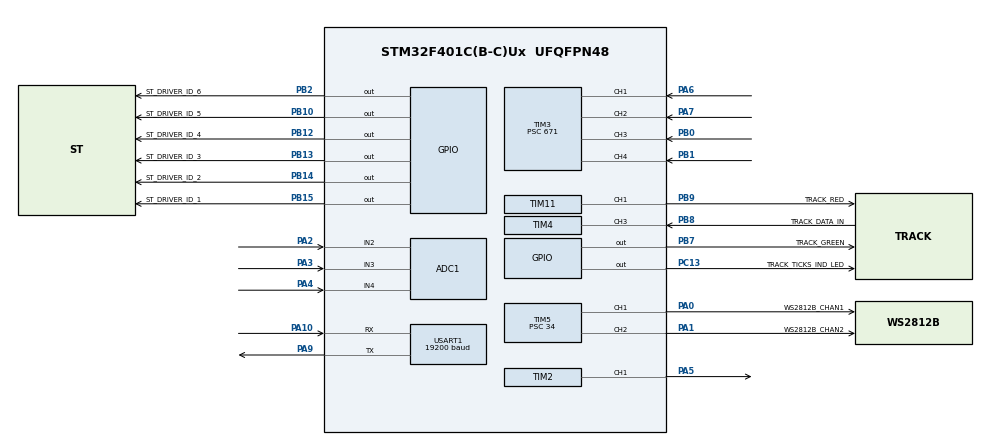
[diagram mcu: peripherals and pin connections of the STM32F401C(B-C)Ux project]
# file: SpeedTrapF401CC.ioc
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ADC1.Channel-0\#ChannelRegularConversion=ADC_CHANNEL_VBAT
ADC1.NbrOfConversionFlag=1
ADC1.Rank-0\#ChannelRegularConversion=1
ADC1.SamplingTime-0\#ChannelRegularConversion=ADC_SAMPLETIME_3CYCLES
ADC1.master=1
Dma.Request0=TIM4_CH3
Dma.Request1=TIM5_CH1
Dma.Request2=TIM5_CH2
Dma.Request3=USART1_RX
Dma.Request4=USART1_TX
Dma.TIM4_CH3.0.Direction=DMA_PERIPH_TO_MEMORY
Dma.TIM4_CH3.0.FIFOMode=DMA_FIFOMODE_DISABLE
Dma.TIM4_CH3.0.Instance=DMA1_Stream7
Dma.TIM4_CH3.0.MemDataAlignment=DMA_MDATAALIGN_HALFWORD
Dma.TIM4_CH3.0.MemInc=DMA_MINC_ENABLE
Dma.TIM4_CH3.0.Mode=DMA_CIRCULAR
Dma.TIM4_CH3.0.PeriphDataAlignment=DMA_PDATAALIGN_HALFWORD
Dma.TIM4_CH3.0.PeriphInc=DMA_PINC_DISABLE
Dma.TIM4_CH3.0.Priority=DMA_PRIORITY_LOW
Dma.TIM5_CH1.1.Direction=DMA_PERIPH_TO_MEMORY
Dma.TIM5_CH1.1.FIFOMode=DMA_FIFOMODE_DISABLE
Dma.TIM5_CH1.1.Instance=DMA1_Stream2
Dma.TIM5_CH1.1.MemDataAlignment=DMA_MDATAALIGN_HALFWORD
Dma.TIM5_CH1.1.MemInc=DMA_MINC_ENABLE
Dma.TIM5_CH1.1.Mode=DMA_NORMAL
Dma.TIM5_CH1.1.PeriphDataAlignment=DMA_PDATAALIGN_HALFWORD
Dma.TIM5_CH1.1.PeriphInc=DMA_PINC_DISABLE
Dma.TIM5_CH1.1.Priority=DMA_PRIORITY_LOW
Dma.TIM5_CH2.2.Direction=DMA_PERIPH_TO_MEMORY
Dma.TIM5_CH2.2.FIFOMode=DMA_FIFOMODE_DISABLE
Dma.TIM5_CH2.2.Instance=DMA1_Stream4
Dma.TIM5_CH2.2.MemDataAlignment=DMA_MDATAALIGN_HALFWORD
Dma.TIM5_CH2.2.MemInc=DMA_MINC_ENABLE
Dma.TIM5_CH2.2.Mode=DMA_CIRCULAR
Dma.TIM5_CH2.2.PeriphDataAlignment=DMA_PDATAALIGN_HALFWORD
Dma.TIM5_CH2.2.PeriphInc=DMA_PINC_DISABLE
Dma.TIM5_CH2.2.Priority=DMA_PRIORITY_LOW
Dma.USART1_RX.3.Direction=DMA_PERIPH_TO_MEMORY
Dma.USART1_RX.3.FIFOMode=DMA_FIFOMODE_DISABLE
Dma.USART1_RX.3.Instance=DMA2_Stream2
Dma.USART1_RX.3.MemDataAlignment=DMA_MDATAALIGN_BYTE
Dma.USART1_RX.3.MemInc=DMA_MINC_ENABLE
Dma.USART1_RX.3.Mode=DMA_CIRCULAR
Dma.USART1_RX.3.PeriphDataAlignment=DMA_PDATAALIGN_BYTE
Dma.USART1_RX.3.PeriphInc=DMA_PINC_DISABLE
Dma.USART1_RX.3.Priority=DMA_PRIORITY_LOW
Dma.USART1_TX.4.Direction=DMA_MEMORY_TO_PERIPH
Dma.USART1_TX.4.FIFOMode=DMA_FIFOMODE_DISABLE
Dma.USART1_TX.4.Instance=DMA2_Stream7
Dma.USART1_TX.4.MemDataAlignment=DMA_MDATAALIGN_BYTE
Dma.USART1_TX.4.MemInc=DMA_MINC_ENABLE
Dma.USART1_TX.4.Mode=DMA_NORMAL
Dma.USART1_TX.4.PeriphDataAlignment=DMA_PDATAALIGN_BYTE
Dma.USART1_TX.4.PeriphInc=DMA_PINC_DISABLE
Dma.USART1_TX.4.Priority=DMA_PRIORITY_LOW
Mcu.Family=STM32F4
Mcu.Name=STM32F401C(B-C)Ux
Mcu.Package=UFQFPN48
NVIC.DMA1_Stream2_IRQn=true\:0\:0\:false\:false\:true\:false\:true\:true
NVIC.DMA1_Stream4_IRQn=true\:0\:0\:false\:false\:true\:false\:true\:true
NVIC.DMA1_Stream7_IRQn=true\:0\:0\:false\:false\:true\:false\:true\:true
NVIC.DMA2_Stream2_IRQn=true\:0\:0\:false\:false\:true\:false\:true\:true
NVIC.DMA2_Stream7_IRQn=true\:0\:0\:false\:false\:true\:false\:true\:true
NVIC.PriorityGroup=NVIC_PRIORITYGROUP_4
NVIC.TIM1_UP_TIM10_IRQn=true\:0\:0\:false\:false\:true\:true\:true\:true
NVIC.TIM3_IRQn=true\:0\:0\:false\:false\:true\:true\:true\:true
PA0-WKUP.GPIO_Label=WS2812B_CHAN1
PA0-WKUP.Signal=S_TIM5_CH1
PA1.GPIO_Label=WS2812B_CHAN2
PA1.Signal=S_TIM5_CH2
PA10.Mode=Asynchronous
PA10.Signal=USART1_RX
PA13.Mode=Serial_Wire
PA13.Signal=SYS_JTMS-SWDIO
PA14.Mode=Serial_Wire
PA14.Signal=SYS_JTCK-SWCLK
PA2.Signal=ADCx_IN2
PA3.Signal=ADCx_IN3
PA4.Signal=ADCx_IN4
PA5.GPIO_Speed=GPIO_SPEED_FREQ_HIGH
PA5.Signal=S_TIM2_CH1_ETR
PA6.GPIO_PuPd=GPIO_PULLDOWN
PA6.Signal=S_TIM3_CH1
PA7.GPIO_PuPd=GPIO_PULLDOWN
PA7.Signal=S_TIM3_CH2
PA9.Mode=Asynchronous
PA9.Signal=USART1_TX
PB0.GPIO_PuPd=GPIO_PULLDOWN
PB0.Signal=S_TIM3_CH3
PB1.GPIO_PuPd=GPIO_PULLDOWN
PB1.Signal=S_TIM3_CH4
PB10.GPIO_Label=ST_DRIVER_ID_5
PB10.Signal=GPIO_Output
PB12.GPIO_Label=ST_DRIVER_ID_4
PB12.Signal=GPIO_Output
PB13.GPIO_Label=ST_DRIVER_ID_3
PB13.Signal=GPIO_Output
PB14.GPIO_Label=ST_DRIVER_ID_2
PB14.Signal=GPIO_Output
PB15.GPIO_Label=ST_DRIVER_ID_1
PB15.Signal=GPIO_Output
PB2.GPIO_Label=ST_DRIVER_ID_6
PB2.Signal=GPIO_Output
PB7.GPIO_Label=TRACK_GREEN
PB7.Signal=GPIO_Output
PB8.GPIO_Label=TRACK_DATA_IN
PB8.GPIO_PuPd=GPIO_PULLUP
PB8.Signal=S_TIM4_CH3
PB9.GPIO_Label=TRACK_RED
PB9.Signal=S_TIM11_CH1
PC13-ANTI_TAMP.GPIO_Label=TRACK_TICKS_IND_LED
PC13-ANTI_TAMP.Signal=GPIO_Output
PC14-OSC32_IN.Mode=LSE-External-Oscillator
PC14-OSC32_IN.Signal=RCC_OSC32_IN
PC15-OSC32_OUT.Mode=LSE-External-Oscillator
PC15-OSC32_OUT.Signal=RCC_OSC32_OUT
PH0\ -\ OSC_IN.Mode=HSE-External-Oscillator
PH0\ -\ OSC_IN.Signal=RCC_OSC_IN
PH1\ -\ OSC_OUT.Mode=HSE-External-Oscillator
PH1\ -\ OSC_OUT.Signal=RCC_OSC_OUT
ProjectManager.HeapSize=0x200
ProjectManager.StackSize=0x400
ProjectManager.TargetToolchain=STM32CubeIDE
RCC.48MHZClocksFreq_Value=42000000
RCC.AHBFreq_Value=84000000
RCC.APB1CLKDivider=RCC_HCLK_DIV2
RCC.APB1Freq_Value=42000000
RCC.APB1TimFreq_Value=84000000
RCC.APB2CLKDivider=RCC_HCLK_DIV2
RCC.APB2Freq_Value=42000000
RCC.APB2TimFreq_Value=84000000
RCC.CortexFreq_Value=84000000
RCC.HCLKFreq_Value=84000000
RCC.HSE_VALUE=25000000
RCC.HSI_VALUE=16000000
RCC.PLLM=25
RCC.PLLN=168
RCC.PLLSourceVirtual=RCC_PLLSOURCE_HSE
RCC.SYSCLKFreq_VALUE=84000000
RCC.SYSCLKSource=RCC_SYSCLKSOURCE_PLLCLK
RCC.VCOOutputFreq_Value=168000000
SH.ADCx_IN2.0=ADC1_IN2,IN2
SH.ADCx_IN3.0=ADC1_IN3,IN3
SH.ADCx_IN4.0=ADC1_IN4,IN4
SH.S_TIM11_CH1.0=TIM11_CH1,PWM Generation1 CH1
SH.S_TIM2_CH1_ETR.0=TIM2_CH1,PWM Generation1 CH1
SH.S_TIM3_CH1.0=TIM3_CH1,Input_Capture1_from_TI1
SH.S_TIM3_CH2.0=TIM3_CH2,Input_Capture2_from_TI2
SH.S_TIM3_CH3.0=TIM3_CH3,Input_Capture3_from_TI3
SH.S_TIM3_CH4.0=TIM3_CH4,Input_Capture4_from_TI4
SH.S_TIM4_CH3.0=TIM4_CH3,Input_Capture3_from_TI3
SH.S_TIM5_CH1.0=TIM5_CH1,PWM Generation1 CH1
SH.S_TIM5_CH2.0=TIM5_CH2,PWM Generation2 CH2
TIM10.Period=99
TIM10.Prescaler=8399
TIM11.Channel=TIM_CHANNEL_1
TIM11.Period=255
TIM11.Prescaler=349
TIM2.Channel-PWM\ Generation1\ CH1=TIM_CHANNEL_1
TIM2.Period=9999
TIM2.Prescaler=839
TIM3.Channel-Input_Capture1_from_TI1=TIM_CHANNEL_1
TIM3.Channel-Input_Capture2_from_TI2=TIM_CHANNEL_2
TIM3.Channel-Input_Capture3_from_TI3=TIM_CHANNEL_3
TIM3.Channel-Input_Capture4_from_TI4=TIM_CHANNEL_4
TIM3.Prescaler=671
TIM4.Channel-Input_Capture3_from_TI3=TIM_CHANNEL_3
TIM4.ICFilter_CH3=0
TIM4.ICPolarity_CH3=TIM_INPUTCHANNELPOLARITY_BOTHEDGE
TIM4.Prescaler=130
TIM5.Channel-PWM\ Generation1\ CH1=TIM_CHANNEL_1
TIM5.Channel-PWM\ Generation2\ CH2=TIM_CHANNEL_2
TIM5.Period=2
TIM5.Prescaler=34
USART1.BaudRate=19200
USART1.VirtualMode=VM_ASYNC
VP_ADC1_Vbat_Input.Mode=IN-Vbat
VP_TIM10_VS_ClockSourceINT.Mode=Enable_Timer
VP_TIM11_VS_ClockSourceINT.Mode=Enable_Timer
VP_TIM2_VS_ClockSourceINT.Mode=Internal
VP_TIM3_VS_ClockSourceINT.Mode=Internal
VP_TIM4_VS_ClockSourceINT.Mode=Internal
VP_TIM5_VS_ClockSourceINT.Mode=Internal
board=custom

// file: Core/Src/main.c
/* USER CODE BEGIN Header */
/**
  ******************************************************************************
  * @file           : main.c
  * @brief          : Main program body
  ******************************************************************************
  * @attention
  *
  * Copyright (c) 2025 STMicroelectronics.
  * All rights reserved.
  *
  * This software is licensed under terms that can be found in the LICENSE file
  * in the root directory of this software component.
  * If no LICENSE file comes with this software, it is provided AS-IS.
  *
  ******************************************************************************
  */
/* USER CODE END Header */
#include "main.h"

/* USER CODE BEGIN Includes */
#include "speedtrap.h"
#include "race_state.h"
#include "usart.h"
/* USER CODE END Includes */

/* USER CODE BEGIN PV */
uint32_t 	hundredth = 0;
uint8_t		flash_active = 0;
uint32_t 	tenth_counter = 0;
uint32_t 	seconds = 0;
uint32_t 	seconds_flag = 0;

// USART
uint8_t				uart_tx_buffer[UART_TX_BUF_LEN] = {0};
volatile uint8_t	uart_rx_buffer[UART_RX_BUF_LEN] = {0};
volatile uint8_t	uart_rx_buffer_copy[UART_RX_BUF_LEN] = {0};
volatile uint8_t	uart_rx_buffer_processed_flag = 1;
volatile uint8_t	uart_tx_transfer_completed		= 1;

USART_BASE_DATA 	uart_base = {0};
USART_DISPLAY_DATA 	uart_display = {0};

/* USER CODE END PV */

void SystemClock_Config(void);
static void MX_GPIO_Init(void);
static void MX_DMA_Init(void);
static void MX_TIM10_Init(void);
static void MX_TIM3_Init(void);
static void MX_TIM4_Init(void);
static void MX_ADC1_Init(void);
static void MX_TIM5_Init(void);
static void MX_TIM11_Init(void);
static void MX_USART1_UART_Init(void);
static void MX_TIM2_Init(void);
/* USER CODE BEGIN PFP */
void (*ptr_sptr_entry_lane_1)(uint16_t capture) = 0;
void (*ptr_sptr_exit_lane_1)(uint16_t capture) = 0;
void (*ptr_sptr_entry_lane_2)(uint16_t capture) = 0;
void (*ptr_sptr_exit_lane_2)(uint16_t capture) = 0;
void (*ptr_sptr_tim_overflow)(void) = 0;

void (*ptr_dma_man_tc)(void) = 0;
void (*ptr_dma_man_ht)(void) = 0;

void UART_DMA_TX();
void UART_DMA_RX_Restart(void);
/* USER CODE END PFP */

int main(void)
{

  /* USER CODE BEGIN 1 */
	ptr_sptr_entry_lane_1 = sptr_isr_entry_identification_lane_1;
	ptr_sptr_exit_lane_1 = 	sptr_isr_exit_identification_lane_1;
	ptr_sptr_entry_lane_2 = sptr_isr_entry_identification_lane_2;
	ptr_sptr_exit_lane_2 = 	sptr_isr_exit_identification_lane_2;
	ptr_sptr_tim_overflow = sptr_isr_overflow_timer_low_res;

	ptr_dma_man_tc = manchester_buffer_dma_tc;
	ptr_dma_man_ht = manchester_buffer_dma_ht;
  /* USER CODE END 1 */

  /* MCU Configuration--------------------------------------------------------*/

  /* Reset of all peripherals, Initializes the Flash interface and the Systick. */
  LL_APB2_GRP1_EnableClock(LL_APB2_GRP1_PERIPH_SYSCFG);
  LL_APB1_GRP1_EnableClock(LL_APB1_GRP1_PERIPH_PWR);

  /* System interrupt init*/
  NVIC_SetPriorityGrouping(NVIC_PRIORITYGROUP_4);

  /* SysTick_IRQn interrupt configuration */
  NVIC_SetPriority(SysTick_IRQn, NVIC_EncodePriority(NVIC_GetPriorityGrouping(),15, 0));

  /* Configure the system clock */
  SystemClock_Config();

  /* Initialize all configured peripherals */
  MX_GPIO_Init();
  MX_DMA_Init();
  MX_TIM10_Init();
  MX_TIM3_Init();
  MX_TIM4_Init();
  MX_ADC1_Init();
  MX_TIM5_Init();
  MX_TIM11_Init();
  MX_USART1_UART_Init();
  MX_TIM2_Init();
  /* USER CODE BEGIN 2 */

  LL_DMA_SetPeriphAddress(DMA1, LL_DMA_STREAM_7, (uint32_t)&TIM4->CCR3);
  LL_DMA_SetMemoryAddress(DMA1, LL_DMA_STREAM_7, (uint32_t)buffer_circular);
  LL_DMA_SetDataLength(DMA1, LL_DMA_STREAM_7, 40);
  // --- 4. Enable interrupts for half/full transfer ---
  LL_DMA_EnableIT_HT(DMA1, LL_DMA_STREAM_7);
  LL_DMA_EnableIT_TC(DMA1, LL_DMA_STREAM_7);
  // --- 5. Enable DMA channel ---
  LL_DMA_EnableStream(DMA1, LL_DMA_STREAM_7);
  // --- 6. Enable TIM3 DMA request on CC1 ---
  LL_TIM_EnableDMAReq_CC3(TIM4);
  LL_TIM_CC_EnableChannel(TIM4, LL_TIM_CHANNEL_CH3);
  // --- 7. Start timer ---
  LL_TIM_EnableCounter(TIM4);

  /* USER CODE END 2 */

  /* Infinite loop */
  while (1)
  {

    /* USER CODE BEGIN 3 */
	  update_race_info_status();
	  sptr_update();

	  // new RX data available in the buffer
	  if (!uart_rx_buffer_processed_flag){
		  uart_base.race_state 			= (uart_rx_buffer_copy[0] & 0x7F);
		  uart_base.start_lights 		= uart_rx_buffer_copy[1];
		  uart_base.jump_start_id 		= uart_rx_buffer_copy[2];
		  uart_base.speed_trap_settings	= uart_rx_buffer_copy[3];
		  uart_base.speed_trap_sensitivity 	= uart_rx_buffer_copy[4];
		  uart_base.track_ticks			= (0x000000FF & uart_rx_buffer_copy[5]) << 24;
		  uart_base.track_ticks			|= (0x000000FF & uart_rx_buffer_copy[6]) << 16;
		  uart_base.track_ticks			|= (0x000000FF & uart_rx_buffer_copy[7]) << 8;
		  uart_base.track_ticks			|= (0x000000FF & uart_rx_buffer_copy[8]);

		  uart_rx_buffer_processed_flag = 1;

		  if (RACE_STATE_START_PROC == uart_base.race_state){
			  sptr_reset();
		  }

		  sptr_set_mode(uart_base.speed_trap_settings & 0x02);		// faster/slower
		  sptr_set_status(uart_base.speed_trap_settings & 0x01); 	// on/off

		  // transmit to display
		  if (uart_tx_transfer_completed){
			  uart_display.race_state 		= uart_base.race_state;
			  uart_display.start_lights		= uart_base.start_lights;
			  uart_display.jump_start_id 	= uart_base.jump_start_id;
			  uart_display.pause			= (uart_rx_buffer_copy[0] & 0x80);
			  uart_display.track_ticks		= uart_base.track_ticks;
		  }
	  }

	  // TX DRIVER DISPLAY - update frequency 1Hz
	  if (seconds_flag != seconds){
		  seconds_flag = seconds;

		  if (uart_tx_transfer_completed){
			  uart_display.speed_id0_ticks 	= sptr_speeds[0];
			  uart_display.speed_id1_ticks 	= sptr_speeds[1];
			  uart_display.speed_id2_ticks 	= sptr_speeds[2];
			  uart_display.speed_id3_ticks 	= sptr_speeds[3];
			  uart_display.speed_id4_ticks 	= sptr_speeds[4];
			  uart_display.speed_id5_ticks 	= sptr_speeds[5];

			  uint8_t buffer_idx = 0;
			  uart_tx_buffer[buffer_idx++] 	= uart_display.race_state;
			  uart_tx_buffer[buffer_idx++] 	= uart_display.start_lights;
			  uart_tx_buffer[buffer_idx++] 	= uart_display.jump_start_id;
			  uart_tx_buffer[buffer_idx++] 	= uart_display.pause;
			  uart_tx_buffer[buffer_idx++]	= (uint8_t)((0xFF000000 & uart_display.track_ticks) >> 24);
			  uart_tx_buffer[buffer_idx++]	= (uint8_t)((0x00FF0000 & uart_display.track_ticks) >> 16);
			  uart_tx_buffer[buffer_idx++]	= (uint8_t)((0x0000FF00 & uart_display.track_ticks) >> 8);
			  uart_tx_buffer[buffer_idx++]	= (uint8_t)((0x000000FF & uart_display.track_ticks));
			  uart_tx_buffer[buffer_idx++]	= (uint8_t)((0xFF00 & uart_display.speed_id0_ticks) >> 8);
			  uart_tx_buffer[buffer_idx++]	= (uint8_t)((0x00FF & uart_display.speed_id0_ticks));
			  uart_tx_buffer[buffer_idx++]	= (uint8_t)((0xFF00 & uart_display.speed_id1_ticks) >> 8);
			  uart_tx_buffer[buffer_idx++]	= (uint8_t)((0x00FF & uart_display.speed_id1_ticks));
			  uart_tx_buffer[buffer_idx++]	= (uint8_t)((0xFF00 & uart_display.speed_id2_ticks) >> 8);
			  uart_tx_buffer[buffer_idx++]	= (uint8_t)((0x00FF & uart_display.speed_id2_ticks));
			  uart_tx_buffer[buffer_idx++]	= (uint8_t)((0xFF00 & uart_display.speed_id3_ticks) >> 8);
			  uart_tx_buffer[buffer_idx++]	= (uint8_t)((0x00FF & uart_display.speed_id3_ticks));
			  uart_tx_buffer[buffer_idx++]	= (uint8_t)((0xFF00 & uart_display.speed_id4_ticks) >> 8);
			  uart_tx_buffer[buffer_idx++]	= (uint8_t)((0x00FF & uart_display.speed_id4_ticks));
			  uart_tx_buffer[buffer_idx++]	= (uint8_t)((0xFF00 & uart_display.speed_id5_ticks) >> 8);
			  uart_tx_buffer[buffer_idx++]	= (uint8_t)((0x00FF & uart_display.speed_id5_ticks));

			  //uart_tx_buffer[0] = (uint8_t)seconds;
			  UART_DMA_TX();
		  }

	  }
  }
  /* USER CODE END 3 */
}

void SystemClock_Config(void)
{
  LL_FLASH_SetLatency(LL_FLASH_LATENCY_2);
  while(LL_FLASH_GetLatency()!= LL_FLASH_LATENCY_2)
  {
  }
  LL_PWR_SetRegulVoltageScaling(LL_PWR_REGU_VOLTAGE_SCALE2);
  LL_RCC_HSE_Enable();

   /* Wait till HSE is ready */
  while(LL_RCC_HSE_IsReady() != 1)
  {

  }
  LL_RCC_PLL_ConfigDomain_SYS(LL_RCC_PLLSOURCE_HSE, LL_RCC_PLLM_DIV_25, 168, LL_RCC_PLLP_DIV_2);
  LL_RCC_PLL_Enable();

   /* Wait till PLL is ready */
  while(LL_RCC_PLL_IsReady() != 1)
  {

  }
  while (LL_PWR_IsActiveFlag_VOS() == 0)
  {
  }
  LL_RCC_SetAHBPrescaler(LL_RCC_SYSCLK_DIV_1);
  LL_RCC_SetAPB1Prescaler(LL_RCC_APB1_DIV_2);
  LL_RCC_SetAPB2Prescaler(LL_RCC_APB2_DIV_2);
  LL_RCC_SetSysClkSource(LL_RCC_SYS_CLKSOURCE_PLL);

   /* Wait till System clock is ready */
  while(LL_RCC_GetSysClkSource() != LL_RCC_SYS_CLKSOURCE_STATUS_PLL)
  {

  }
  LL_Init1msTick(84000000);
  LL_SetSystemCoreClock(84000000);
  LL_RCC_SetTIMPrescaler(LL_RCC_TIM_PRESCALER_TWICE);
}

static void MX_ADC1_Init(void)
{

  LL_ADC_InitTypeDef ADC_InitStruct = {0};
  LL_ADC_REG_InitTypeDef ADC_REG_InitStruct = {0};
  LL_ADC_CommonInitTypeDef ADC_CommonInitStruct = {0};

  LL_GPIO_InitTypeDef GPIO_InitStruct = {0};

  /* Peripheral clock enable */
  LL_APB2_GRP1_EnableClock(LL_APB2_GRP1_PERIPH_ADC1);

  LL_AHB1_GRP1_EnableClock(LL_AHB1_GRP1_PERIPH_GPIOA);
  /**ADC1 GPIO Configuration
  PA2   ------> ADC1_IN2
  PA3   ------> ADC1_IN3
  PA4   ------> ADC1_IN4
  */
  GPIO_InitStruct.Pin = LL_GPIO_PIN_2|LL_GPIO_PIN_3|LL_GPIO_PIN_4;
  GPIO_InitStruct.Mode = LL_GPIO_MODE_ANALOG;
  GPIO_InitStruct.Pull = LL_GPIO_PULL_NO;
  LL_GPIO_Init(GPIOA, &GPIO_InitStruct);

  /** Common config
  */
  ADC_InitStruct.Resolution = LL_ADC_RESOLUTION_12B;
  ADC_InitStruct.DataAlignment = LL_ADC_DATA_ALIGN_RIGHT;
  ADC_InitStruct.SequencersScanMode = LL_ADC_SEQ_SCAN_DISABLE;
  LL_ADC_Init(ADC1, &ADC_InitStruct);
  ADC_REG_InitStruct.TriggerSource = LL_ADC_REG_TRIG_SOFTWARE;
  ADC_REG_InitStruct.SequencerLength = LL_ADC_REG_SEQ_SCAN_DISABLE;
  ADC_REG_InitStruct.SequencerDiscont = LL_ADC_REG_SEQ_DISCONT_DISABLE;
  ADC_REG_InitStruct.ContinuousMode = LL_ADC_REG_CONV_SINGLE;
  ADC_REG_InitStruct.DMATransfer = LL_ADC_REG_DMA_TRANSFER_NONE;
  LL_ADC_REG_Init(ADC1, &ADC_REG_InitStruct);
  LL_ADC_REG_SetFlagEndOfConversion(ADC1, LL_ADC_REG_FLAG_EOC_UNITARY_CONV);
  ADC_CommonInitStruct.CommonClock = LL_ADC_CLOCK_SYNC_PCLK_DIV2;
  LL_ADC_CommonInit(__LL_ADC_COMMON_INSTANCE(ADC1), &ADC_CommonInitStruct);

  /** Configure Regular Channel
  */
  LL_ADC_REG_SetSequencerRanks(ADC1, LL_ADC_REG_RANK_1, LL_ADC_CHANNEL_VBAT);
  LL_ADC_SetChannelSamplingTime(ADC1, LL_ADC_CHANNEL_VBAT, LL_ADC_SAMPLINGTIME_3CYCLES);
  LL_ADC_SetCommonPathInternalCh(__LL_ADC_COMMON_INSTANCE(ADC1), LL_ADC_PATH_INTERNAL_VBAT);

}

static void MX_TIM2_Init(void)
{

  LL_TIM_InitTypeDef TIM_InitStruct = {0};
  LL_TIM_OC_InitTypeDef TIM_OC_InitStruct = {0};

  LL_GPIO_InitTypeDef GPIO_InitStruct = {0};

  /* Peripheral clock enable */
  LL_APB1_GRP1_EnableClock(LL_APB1_GRP1_PERIPH_TIM2);

  TIM_InitStruct.Prescaler = 839;
  TIM_InitStruct.CounterMode = LL_TIM_COUNTERMODE_UP;
  TIM_InitStruct.Autoreload = 9999;
  TIM_InitStruct.ClockDivision = LL_TIM_CLOCKDIVISION_DIV1;
  LL_TIM_Init(TIM2, &TIM_InitStruct);
  LL_TIM_DisableARRPreload(TIM2);
  LL_TIM_SetClockSource(TIM2, LL_TIM_CLOCKSOURCE_INTERNAL);
  LL_TIM_OC_EnablePreload(TIM2, LL_TIM_CHANNEL_CH1);
  TIM_OC_InitStruct.OCMode = LL_TIM_OCMODE_PWM1;
  TIM_OC_InitStruct.OCState = LL_TIM_OCSTATE_DISABLE;
  TIM_OC_InitStruct.OCNState = LL_TIM_OCSTATE_DISABLE;
  TIM_OC_InitStruct.CompareValue = 0;
  TIM_OC_InitStruct.OCPolarity = LL_TIM_OCPOLARITY_HIGH;
  LL_TIM_OC_Init(TIM2, LL_TIM_CHANNEL_CH1, &TIM_OC_InitStruct);
  LL_TIM_OC_DisableFast(TIM2, LL_TIM_CHANNEL_CH1);
  LL_TIM_SetTriggerOutput(TIM2, LL_TIM_TRGO_RESET);
  LL_TIM_DisableMasterSlaveMode(TIM2);
  /* USER CODE BEGIN TIM2_Init 2 */

  LL_TIM_DisableCounter(TIM2);
  LL_TIM_CC_EnableChannel(TIM2, LL_TIM_CHANNEL_CH1);
  LL_TIM_OC_SetPolarity(TIM2, LL_TIM_CHANNEL_CH1, LL_TIM_OCPOLARITY_LOW);
  LL_TIM_SetOnePulseMode(TIM2, LL_TIM_ONEPULSEMODE_SINGLE);
  LL_TIM_OC_SetCompareCH1(TIM2, 5000); // 50 ms
  LL_TIM_EnableAllOutputs(TIM2);
  LL_TIM_GenerateEvent_UPDATE(TIM2);

  /* USER CODE END TIM2_Init 2 */
  LL_AHB1_GRP1_EnableClock(LL_AHB1_GRP1_PERIPH_GPIOA);
  /**TIM2 GPIO Configuration
  PA5   ------> TIM2_CH1
  */
  GPIO_InitStruct.Pin = LL_GPIO_PIN_5;
  GPIO_InitStruct.Mode = LL_GPIO_MODE_ALTERNATE;
  GPIO_InitStruct.Speed = LL_GPIO_SPEED_FREQ_HIGH;
  GPIO_InitStruct.OutputType = LL_GPIO_OUTPUT_PUSHPULL;
  GPIO_InitStruct.Pull = LL_GPIO_PULL_NO;
  GPIO_InitStruct.Alternate = LL_GPIO_AF_1;
  LL_GPIO_Init(GPIOA, &GPIO_InitStruct);

}

static void MX_TIM3_Init(void)
{

  LL_TIM_InitTypeDef TIM_InitStruct = {0};

  LL_GPIO_InitTypeDef GPIO_InitStruct = {0};

  /* Peripheral clock enable */
  LL_APB1_GRP1_EnableClock(LL_APB1_GRP1_PERIPH_TIM3);

  LL_AHB1_GRP1_EnableClock(LL_AHB1_GRP1_PERIPH_GPIOA);
  LL_AHB1_GRP1_EnableClock(LL_AHB1_GRP1_PERIPH_GPIOB);
  /**TIM3 GPIO Configuration
  PA6   ------> TIM3_CH1
  PA7   ------> TIM3_CH2
  PB0   ------> TIM3_CH3
  PB1   ------> TIM3_CH4
  */
  GPIO_InitStruct.Pin = LL_GPIO_PIN_6|LL_GPIO_PIN_7;
  GPIO_InitStruct.Mode = LL_GPIO_MODE_ALTERNATE;
  GPIO_InitStruct.Speed = LL_GPIO_SPEED_FREQ_LOW;
  GPIO_InitStruct.OutputType = LL_GPIO_OUTPUT_PUSHPULL;
  GPIO_InitStruct.Pull = LL_GPIO_PULL_DOWN;
  GPIO_InitStruct.Alternate = LL_GPIO_AF_2;
  LL_GPIO_Init(GPIOA, &GPIO_InitStruct);

  GPIO_InitStruct.Pin = LL_GPIO_PIN_0|LL_GPIO_PIN_1;
  GPIO_InitStruct.Mode = LL_GPIO_MODE_ALTERNATE;
  GPIO_InitStruct.Speed = LL_GPIO_SPEED_FREQ_LOW;
  GPIO_InitStruct.OutputType = LL_GPIO_OUTPUT_PUSHPULL;
  GPIO_InitStruct.Pull = LL_GPIO_PULL_DOWN;
  GPIO_InitStruct.Alternate = LL_GPIO_AF_2;
  LL_GPIO_Init(GPIOB, &GPIO_InitStruct);

  /* TIM3 interrupt Init */
  NVIC_SetPriority(TIM3_IRQn, NVIC_EncodePriority(NVIC_GetPriorityGrouping(),0, 0));
  NVIC_EnableIRQ(TIM3_IRQn);

  TIM_InitStruct.Prescaler = 671;
  TIM_InitStruct.CounterMode = LL_TIM_COUNTERMODE_UP;
  TIM_InitStruct.Autoreload = 65535;
  TIM_InitStruct.ClockDivision = LL_TIM_CLOCKDIVISION_DIV1;
  LL_TIM_Init(TIM3, &TIM_InitStruct);
  LL_TIM_DisableARRPreload(TIM3);
  LL_TIM_SetClockSource(TIM3, LL_TIM_CLOCKSOURCE_INTERNAL);
  LL_TIM_SetTriggerOutput(TIM3, LL_TIM_TRGO_RESET);
  LL_TIM_DisableMasterSlaveMode(TIM3);
  LL_TIM_IC_SetActiveInput(TIM3, LL_TIM_CHANNEL_CH1, LL_TIM_ACTIVEINPUT_DIRECTTI);
  LL_TIM_IC_SetPrescaler(TIM3, LL_TIM_CHANNEL_CH1, LL_TIM_ICPSC_DIV1);
  LL_TIM_IC_SetFilter(TIM3, LL_TIM_CHANNEL_CH1, LL_TIM_IC_FILTER_FDIV1);
  LL_TIM_IC_SetPolarity(TIM3, LL_TIM_CHANNEL_CH1, LL_TIM_IC_POLARITY_RISING);
  LL_TIM_IC_SetActiveInput(TIM3, LL_TIM_CHANNEL_CH2, LL_TIM_ACTIVEINPUT_DIRECTTI);
  LL_TIM_IC_SetPrescaler(TIM3, LL_TIM_CHANNEL_CH2, LL_TIM_ICPSC_DIV1);
  LL_TIM_IC_SetFilter(TIM3, LL_TIM_CHANNEL_CH2, LL_TIM_IC_FILTER_FDIV1);
  LL_TIM_IC_SetPolarity(TIM3, LL_TIM_CHANNEL_CH2, LL_TIM_IC_POLARITY_RISING);
  LL_TIM_IC_SetActiveInput(TIM3, LL_TIM_CHANNEL_CH3, LL_TIM_ACTIVEINPUT_DIRECTTI);
  LL_TIM_IC_SetPrescaler(TIM3, LL_TIM_CHANNEL_CH3, LL_TIM_ICPSC_DIV1);
  LL_TIM_IC_SetFilter(TIM3, LL_TIM_CHANNEL_CH3, LL_TIM_IC_FILTER_FDIV1);
  LL_TIM_IC_SetPolarity(TIM3, LL_TIM_CHANNEL_CH3, LL_TIM_IC_POLARITY_RISING);
  LL_TIM_IC_SetActiveInput(TIM3, LL_TIM_CHANNEL_CH4, LL_TIM_ACTIVEINPUT_DIRECTTI);
  LL_TIM_IC_SetPrescaler(TIM3, LL_TIM_CHANNEL_CH4, LL_TIM_ICPSC_DIV1);
  LL_TIM_IC_SetFilter(TIM3, LL_TIM_CHANNEL_CH4, LL_TIM_IC_FILTER_FDIV1);
  LL_TIM_IC_SetPolarity(TIM3, LL_TIM_CHANNEL_CH4, LL_TIM_IC_POLARITY_RISING);
  /* USER CODE BEGIN TIM3_Init 2 */

  LL_TIM_EnableIT_UPDATE(TIM3);

  // set cc channels and enable interrupts
  LL_TIM_CC_EnableChannel(TIM3, LL_TIM_CHANNEL_CH1);
  LL_TIM_EnableIT_CC1(TIM3);
  LL_TIM_CC_EnableChannel(TIM3, LL_TIM_CHANNEL_CH2);
  LL_TIM_EnableIT_CC2(TIM3);
  LL_TIM_CC_EnableChannel(TIM3, LL_TIM_CHANNEL_CH3);
  LL_TIM_EnableIT_CC3(TIM3);
  LL_TIM_CC_EnableChannel(TIM3, LL_TIM_CHANNEL_CH4);
  LL_TIM_EnableIT_CC4(TIM3);

  // start timer
  LL_TIM_EnableCounter(TIM3);
  /* USER CODE END TIM3_Init 2 */

}

static void MX_TIM4_Init(void)
{

  LL_TIM_InitTypeDef TIM_InitStruct = {0};

  LL_GPIO_InitTypeDef GPIO_InitStruct = {0};

  /* Peripheral clock enable */
  LL_APB1_GRP1_EnableClock(LL_APB1_GRP1_PERIPH_TIM4);

  LL_AHB1_GRP1_EnableClock(LL_AHB1_GRP1_PERIPH_GPIOB);
  /**TIM4 GPIO Configuration
  PB8   ------> TIM4_CH3
  */
  GPIO_InitStruct.Pin = TRACK_DATA_IN_Pin;
  GPIO_InitStruct.Mode = LL_GPIO_MODE_ALTERNATE;
  GPIO_InitStruct.Speed = LL_GPIO_SPEED_FREQ_LOW;
  GPIO_InitStruct.OutputType = LL_GPIO_OUTPUT_PUSHPULL;
  GPIO_InitStruct.Pull = LL_GPIO_PULL_UP;
  GPIO_InitStruct.Alternate = LL_GPIO_AF_2;
  LL_GPIO_Init(TRACK_DATA_IN_GPIO_Port, &GPIO_InitStruct);

  /* TIM4 DMA Init */

  /* TIM4_CH3 Init */
  LL_DMA_SetChannelSelection(DMA1, LL_DMA_STREAM_7, LL_DMA_CHANNEL_2);

  LL_DMA_SetDataTransferDirection(DMA1, LL_DMA_STREAM_7, LL_DMA_DIRECTION_PERIPH_TO_MEMORY);

  LL_DMA_SetStreamPriorityLevel(DMA1, LL_DMA_STREAM_7, LL_DMA_PRIORITY_LOW);

  LL_DMA_SetMode(DMA1, LL_DMA_STREAM_7, LL_DMA_MODE_CIRCULAR);

  LL_DMA_SetPeriphIncMode(DMA1, LL_DMA_STREAM_7, LL_DMA_PERIPH_NOINCREMENT);

  LL_DMA_SetMemoryIncMode(DMA1, LL_DMA_STREAM_7, LL_DMA_MEMORY_INCREMENT);

  LL_DMA_SetPeriphSize(DMA1, LL_DMA_STREAM_7, LL_DMA_PDATAALIGN_HALFWORD);

  LL_DMA_SetMemorySize(DMA1, LL_DMA_STREAM_7, LL_DMA_MDATAALIGN_HALFWORD);

  LL_DMA_DisableFifoMode(DMA1, LL_DMA_STREAM_7);

  TIM_InitStruct.Prescaler = 130;
  TIM_InitStruct.CounterMode = LL_TIM_COUNTERMODE_UP;
  TIM_InitStruct.Autoreload = 65535;
  TIM_InitStruct.ClockDivision = LL_TIM_CLOCKDIVISION_DIV1;
  LL_TIM_Init(TIM4, &TIM_InitStruct);
  LL_TIM_DisableARRPreload(TIM4);
  LL_TIM_SetClockSource(TIM4, LL_TIM_CLOCKSOURCE_INTERNAL);
  LL_TIM_SetTriggerOutput(TIM4, LL_TIM_TRGO_RESET);
  LL_TIM_DisableMasterSlaveMode(TIM4);
  LL_TIM_IC_SetActiveInput(TIM4, LL_TIM_CHANNEL_CH3, LL_TIM_ACTIVEINPUT_DIRECTTI);
  LL_TIM_IC_SetPrescaler(TIM4, LL_TIM_CHANNEL_CH3, LL_TIM_ICPSC_DIV1);
  LL_TIM_IC_SetFilter(TIM4, LL_TIM_CHANNEL_CH3, LL_TIM_IC_FILTER_FDIV1);
  LL_TIM_IC_SetPolarity(TIM4, LL_TIM_CHANNEL_CH3, LL_TIM_IC_POLARITY_BOTHEDGE);

}

static void MX_TIM5_Init(void)
{

  LL_TIM_InitTypeDef TIM_InitStruct = {0};
  LL_TIM_OC_InitTypeDef TIM_OC_InitStruct = {0};

  LL_GPIO_InitTypeDef GPIO_InitStruct = {0};

  /* Peripheral clock enable */
  LL_APB1_GRP1_EnableClock(LL_APB1_GRP1_PERIPH_TIM5);

  /* TIM5 DMA Init */

  /* TIM5_CH1 Init */
  LL_DMA_SetChannelSelection(DMA1, LL_DMA_STREAM_2, LL_DMA_CHANNEL_6);

  LL_DMA_SetDataTransferDirection(DMA1, LL_DMA_STREAM_2, LL_DMA_DIRECTION_PERIPH_TO_MEMORY);

  LL_DMA_SetStreamPriorityLevel(DMA1, LL_DMA_STREAM_2, LL_DMA_PRIORITY_LOW);

  LL_DMA_SetMode(DMA1, LL_DMA_STREAM_2, LL_DMA_MODE_NORMAL);

  LL_DMA_SetPeriphIncMode(DMA1, LL_DMA_STREAM_2, LL_DMA_PERIPH_NOINCREMENT);

  LL_DMA_SetMemoryIncMode(DMA1, LL_DMA_STREAM_2, LL_DMA_MEMORY_INCREMENT);

  LL_DMA_SetPeriphSize(DMA1, LL_DMA_STREAM_2, LL_DMA_PDATAALIGN_HALFWORD);

  LL_DMA_SetMemorySize(DMA1, LL_DMA_STREAM_2, LL_DMA_MDATAALIGN_HALFWORD);

  LL_DMA_DisableFifoMode(DMA1, LL_DMA_STREAM_2);

  /* TIM5_CH2 Init */
  LL_DMA_SetChannelSelection(DMA1, LL_DMA_STREAM_4, LL_DMA_CHANNEL_6);

  LL_DMA_SetDataTransferDirection(DMA1, LL_DMA_STREAM_4, LL_DMA_DIRECTION_PERIPH_TO_MEMORY);

  LL_DMA_SetStreamPriorityLevel(DMA1, LL_DMA_STREAM_4, LL_DMA_PRIORITY_LOW);

  LL_DMA_SetMode(DMA1, LL_DMA_STREAM_4, LL_DMA_MODE_CIRCULAR);

  LL_DMA_SetPeriphIncMode(DMA1, LL_DMA_STREAM_4, LL_DMA_PERIPH_NOINCREMENT);

  LL_DMA_SetMemoryIncMode(DMA1, LL_DMA_STREAM_4, LL_DMA_MEMORY_INCREMENT);

  LL_DMA_SetPeriphSize(DMA1, LL_DMA_STREAM_4, LL_DMA_PDATAALIGN_HALFWORD);

  LL_DMA_SetMemorySize(DMA1, LL_DMA_STREAM_4, LL_DMA_MDATAALIGN_HALFWORD);

  LL_DMA_DisableFifoMode(DMA1, LL_DMA_STREAM_4);

  TIM_InitStruct.Prescaler = 34;
  TIM_InitStruct.CounterMode = LL_TIM_COUNTERMODE_UP;
  TIM_InitStruct.Autoreload = 2;
  TIM_InitStruct.ClockDivision = LL_TIM_CLOCKDIVISION_DIV1;
  LL_TIM_Init(TIM5, &TIM_InitStruct);
  LL_TIM_DisableARRPreload(TIM5);
  LL_TIM_SetClockSource(TIM5, LL_TIM_CLOCKSOURCE_INTERNAL);
  LL_TIM_OC_EnablePreload(TIM5, LL_TIM_CHANNEL_CH1);
  TIM_OC_InitStruct.OCMode = LL_TIM_OCMODE_PWM1;
  TIM_OC_InitStruct.OCState = LL_TIM_OCSTATE_DISABLE;
  TIM_OC_InitStruct.OCNState = LL_TIM_OCSTATE_DISABLE;
  TIM_OC_InitStruct.CompareValue = 0;
  TIM_OC_InitStruct.OCPolarity = LL_TIM_OCPOLARITY_HIGH;
  LL_TIM_OC_Init(TIM5, LL_TIM_CHANNEL_CH1, &TIM_OC_InitStruct);
  LL_TIM_OC_DisableFast(TIM5, LL_TIM_CHANNEL_CH1);
  LL_TIM_OC_EnablePreload(TIM5, LL_TIM_CHANNEL_CH2);
  LL_TIM_OC_Init(TIM5, LL_TIM_CHANNEL_CH2, &TIM_OC_InitStruct);
  LL_TIM_OC_DisableFast(TIM5, LL_TIM_CHANNEL_CH2);
  LL_TIM_SetTriggerOutput(TIM5, LL_TIM_TRGO_RESET);
  LL_TIM_DisableMasterSlaveMode(TIM5);
  LL_AHB1_GRP1_EnableClock(LL_AHB1_GRP1_PERIPH_GPIOA);
  /**TIM5 GPIO Configuration
  PA0-WKUP   ------> TIM5_CH1
  PA1   ------> TIM5_CH2
  */
  GPIO_InitStruct.Pin = WS2812B_CHAN1_Pin|WS2812B_CHAN2_Pin;
  GPIO_InitStruct.Mode = LL_GPIO_MODE_ALTERNATE;
  GPIO_InitStruct.Speed = LL_GPIO_SPEED_FREQ_LOW;
  GPIO_InitStruct.OutputType = LL_GPIO_OUTPUT_PUSHPULL;
  GPIO_InitStruct.Pull = LL_GPIO_PULL_NO;
  GPIO_InitStruct.Alternate = LL_GPIO_AF_2;
  LL_GPIO_Init(GPIOA, &GPIO_InitStruct);

}

static void MX_TIM10_Init(void)
{

  LL_TIM_InitTypeDef TIM_InitStruct = {0};

  /* Peripheral clock enable */
  LL_APB2_GRP1_EnableClock(LL_APB2_GRP1_PERIPH_TIM10);

  /* TIM10 interrupt Init */
  NVIC_SetPriority(TIM1_UP_TIM10_IRQn, NVIC_EncodePriority(NVIC_GetPriorityGrouping(),0, 0));
  NVIC_EnableIRQ(TIM1_UP_TIM10_IRQn);

  TIM_InitStruct.Prescaler = 8399;
  TIM_InitStruct.CounterMode = LL_TIM_COUNTERMODE_UP;
  TIM_InitStruct.Autoreload = 99;
  TIM_InitStruct.ClockDivision = LL_TIM_CLOCKDIVISION_DIV1;
  LL_TIM_Init(TIM10, &TIM_InitStruct);
  LL_TIM_DisableARRPreload(TIM10);
  /* USER CODE BEGIN TIM10_Init 2 */

	LL_TIM_EnableIT_UPDATE(TIM10);
	// start the counter
	LL_TIM_EnableCounter(TIM10);
  /* USER CODE END TIM10_Init 2 */

}

static void MX_TIM11_Init(void)
{

  LL_TIM_InitTypeDef TIM_InitStruct = {0};
  LL_TIM_OC_InitTypeDef TIM_OC_InitStruct = {0};

  LL_GPIO_InitTypeDef GPIO_InitStruct = {0};

  /* Peripheral clock enable */
  LL_APB2_GRP1_EnableClock(LL_APB2_GRP1_PERIPH_TIM11);

  TIM_InitStruct.Prescaler = 349;
  TIM_InitStruct.CounterMode = LL_TIM_COUNTERMODE_UP;
  TIM_InitStruct.Autoreload = 255;
  TIM_InitStruct.ClockDivision = LL_TIM_CLOCKDIVISION_DIV1;
  LL_TIM_Init(TIM11, &TIM_InitStruct);
  LL_TIM_DisableARRPreload(TIM11);
  LL_TIM_OC_EnablePreload(TIM11, LL_TIM_CHANNEL_CH1);
  TIM_OC_InitStruct.OCMode = LL_TIM_OCMODE_PWM1;
  TIM_OC_InitStruct.OCState = LL_TIM_OCSTATE_DISABLE;
  TIM_OC_InitStruct.OCNState = LL_TIM_OCSTATE_DISABLE;
  TIM_OC_InitStruct.CompareValue = 0;
  TIM_OC_InitStruct.OCPolarity = LL_TIM_OCPOLARITY_HIGH;
  LL_TIM_OC_Init(TIM11, LL_TIM_CHANNEL_CH1, &TIM_OC_InitStruct);
  LL_TIM_OC_DisableFast(TIM11, LL_TIM_CHANNEL_CH1);
  LL_AHB1_GRP1_EnableClock(LL_AHB1_GRP1_PERIPH_GPIOB);
  /**TIM11 GPIO Configuration
  PB9   ------> TIM11_CH1
  */
  GPIO_InitStruct.Pin = TRACK_RED_Pin;
  GPIO_InitStruct.Mode = LL_GPIO_MODE_ALTERNATE;
  GPIO_InitStruct.Speed = LL_GPIO_SPEED_FREQ_LOW;
  GPIO_InitStruct.OutputType = LL_GPIO_OUTPUT_PUSHPULL;
  GPIO_InitStruct.Pull = LL_GPIO_PULL_NO;
  GPIO_InitStruct.Alternate = LL_GPIO_AF_3;
  LL_GPIO_Init(TRACK_RED_GPIO_Port, &GPIO_InitStruct);

}

static void MX_USART1_UART_Init(void)
{

  LL_USART_InitTypeDef USART_InitStruct = {0};

  LL_GPIO_InitTypeDef GPIO_InitStruct = {0};

  /* Peripheral clock enable */
  LL_APB2_GRP1_EnableClock(LL_APB2_GRP1_PERIPH_USART1);

  LL_AHB1_GRP1_EnableClock(LL_AHB1_GRP1_PERIPH_GPIOA);
  /**USART1 GPIO Configuration
  PA9   ------> USART1_TX
  PA10   ------> USART1_RX
  */
  GPIO_InitStruct.Pin = LL_GPIO_PIN_9|LL_GPIO_PIN_10;
  GPIO_InitStruct.Mode = LL_GPIO_MODE_ALTERNATE;
  GPIO_InitStruct.Speed = LL_GPIO_SPEED_FREQ_VERY_HIGH;
  GPIO_InitStruct.OutputType = LL_GPIO_OUTPUT_PUSHPULL;
  GPIO_InitStruct.Pull = LL_GPIO_PULL_NO;
  GPIO_InitStruct.Alternate = LL_GPIO_AF_7;
  LL_GPIO_Init(GPIOA, &GPIO_InitStruct);

  /* USART1 DMA Init */

  /* USART1_RX Init */
  LL_DMA_SetChannelSelection(DMA2, LL_DMA_STREAM_2, LL_DMA_CHANNEL_4);

  LL_DMA_SetDataTransferDirection(DMA2, LL_DMA_STREAM_2, LL_DMA_DIRECTION_PERIPH_TO_MEMORY);

  LL_DMA_SetStreamPriorityLevel(DMA2, LL_DMA_STREAM_2, LL_DMA_PRIORITY_LOW);

  LL_DMA_SetMode(DMA2, LL_DMA_STREAM_2, LL_DMA_MODE_CIRCULAR);

  LL_DMA_SetPeriphIncMode(DMA2, LL_DMA_STREAM_2, LL_DMA_PERIPH_NOINCREMENT);

  LL_DMA_SetMemoryIncMode(DMA2, LL_DMA_STREAM_2, LL_DMA_MEMORY_INCREMENT);

  LL_DMA_SetPeriphSize(DMA2, LL_DMA_STREAM_2, LL_DMA_PDATAALIGN_BYTE);

  LL_DMA_SetMemorySize(DMA2, LL_DMA_STREAM_2, LL_DMA_MDATAALIGN_BYTE);

  LL_DMA_DisableFifoMode(DMA2, LL_DMA_STREAM_2);

  /* USART1_TX Init */
  LL_DMA_SetChannelSelection(DMA2, LL_DMA_STREAM_7, LL_DMA_CHANNEL_4);

  LL_DMA_SetDataTransferDirection(DMA2, LL_DMA_STREAM_7, LL_DMA_DIRECTION_MEMORY_TO_PERIPH);

  LL_DMA_SetStreamPriorityLevel(DMA2, LL_DMA_STREAM_7, LL_DMA_PRIORITY_LOW);

  LL_DMA_SetMode(DMA2, LL_DMA_STREAM_7, LL_DMA_MODE_NORMAL);

  LL_DMA_SetPeriphIncMode(DMA2, LL_DMA_STREAM_7, LL_DMA_PERIPH_NOINCREMENT);

  LL_DMA_SetMemoryIncMode(DMA2, LL_DMA_STREAM_7, LL_DMA_MEMORY_INCREMENT);

  LL_DMA_SetPeriphSize(DMA2, LL_DMA_STREAM_7, LL_DMA_PDATAALIGN_BYTE);

  LL_DMA_SetMemorySize(DMA2, LL_DMA_STREAM_7, LL_DMA_MDATAALIGN_BYTE);

  LL_DMA_DisableFifoMode(DMA2, LL_DMA_STREAM_7);

  USART_InitStruct.BaudRate = 19200;
  USART_InitStruct.DataWidth = LL_USART_DATAWIDTH_8B;
  USART_InitStruct.StopBits = LL_USART_STOPBITS_1;
  USART_InitStruct.Parity = LL_USART_PARITY_NONE;
  USART_InitStruct.TransferDirection = LL_USART_DIRECTION_TX_RX;
  USART_InitStruct.HardwareFlowControl = LL_USART_HWCONTROL_NONE;
  USART_InitStruct.OverSampling = LL_USART_OVERSAMPLING_16;
  LL_USART_Init(USART1, &USART_InitStruct);
  LL_USART_ConfigAsyncMode(USART1);
  LL_USART_Enable(USART1);
  /* USER CODE BEGIN USART1_Init 2 */

  // RX CONFIG
  LL_DMA_SetPeriphAddress(DMA2, LL_DMA_STREAM_2, (uint32_t)&USART1->DR);
  LL_DMA_SetDataLength(DMA2, LL_DMA_STREAM_2, UART_RX_BUF_LEN);
  LL_DMA_SetMemoryAddress(DMA2, LL_DMA_STREAM_2, (uint32_t)uart_rx_buffer);

  LL_DMA_EnableIT_TC(DMA2, LL_DMA_STREAM_2);   // RX complete interrupt
  LL_DMA_EnableStream(DMA2, LL_DMA_STREAM_2);
  LL_USART_EnableDMAReq_RX(USART1);

  // TX CONFIG
  LL_DMA_SetPeriphAddress(DMA2, LL_DMA_STREAM_7, (uint32_t)&USART1->DR);
  LL_DMA_SetDataLength(DMA2, LL_DMA_STREAM_7, UART_TX_BUF_LEN);
  LL_DMA_SetMemoryAddress(DMA2, LL_DMA_STREAM_7, (uint32_t)uart_tx_buffer);
  LL_DMA_EnableIT_TC(DMA2, LL_DMA_STREAM_7);   // RX complete interrupt
  //LL_DMA_EnableStream(DMA2, LL_DMA_STREAM_7);
  LL_USART_EnableDMAReq_TX(USART1);

  LL_USART_Enable(USART1);

  /* USER CODE END USART1_Init 2 */

}

static void MX_DMA_Init(void)
{

  /* Init with LL driver */
  /* DMA controller clock enable */
  LL_AHB1_GRP1_EnableClock(LL_AHB1_GRP1_PERIPH_DMA1);
  LL_AHB1_GRP1_EnableClock(LL_AHB1_GRP1_PERIPH_DMA2);

  /* DMA interrupt init */
  /* DMA1_Stream2_IRQn interrupt configuration */
  NVIC_SetPriority(DMA1_Stream2_IRQn, NVIC_EncodePriority(NVIC_GetPriorityGrouping(),0, 0));
  NVIC_EnableIRQ(DMA1_Stream2_IRQn);
  /* DMA1_Stream4_IRQn interrupt configuration */
  NVIC_SetPriority(DMA1_Stream4_IRQn, NVIC_EncodePriority(NVIC_GetPriorityGrouping(),0, 0));
  NVIC_EnableIRQ(DMA1_Stream4_IRQn);
  /* DMA1_Stream7_IRQn interrupt configuration */
  NVIC_SetPriority(DMA1_Stream7_IRQn, NVIC_EncodePriority(NVIC_GetPriorityGrouping(),0, 0));
  NVIC_EnableIRQ(DMA1_Stream7_IRQn);
  /* DMA2_Stream2_IRQn interrupt configuration */
  NVIC_SetPriority(DMA2_Stream2_IRQn, NVIC_EncodePriority(NVIC_GetPriorityGrouping(),0, 0));
  NVIC_EnableIRQ(DMA2_Stream2_IRQn);
  /* DMA2_Stream7_IRQn interrupt configuration */
  NVIC_SetPriority(DMA2_Stream7_IRQn, NVIC_EncodePriority(NVIC_GetPriorityGrouping(),0, 0));
  NVIC_EnableIRQ(DMA2_Stream7_IRQn);

}

static void MX_GPIO_Init(void)
{
  LL_GPIO_InitTypeDef GPIO_InitStruct = {0};

  /* GPIO Ports Clock Enable */
  LL_AHB1_GRP1_EnableClock(LL_AHB1_GRP1_PERIPH_GPIOC);
  LL_AHB1_GRP1_EnableClock(LL_AHB1_GRP1_PERIPH_GPIOH);
  LL_AHB1_GRP1_EnableClock(LL_AHB1_GRP1_PERIPH_GPIOA);
  LL_AHB1_GRP1_EnableClock(LL_AHB1_GRP1_PERIPH_GPIOB);

  /**/
  LL_GPIO_ResetOutputPin(TRACK_TICKS_IND_LED_GPIO_Port, TRACK_TICKS_IND_LED_Pin);

  /**/
  LL_GPIO_ResetOutputPin(GPIOB, ST_DRIVER_ID_6_Pin|ST_DRIVER_ID_5_Pin|ST_DRIVER_ID_4_Pin|ST_DRIVER_ID_3_Pin
                          |ST_DRIVER_ID_2_Pin|ST_DRIVER_ID_1_Pin|TRACK_GREEN_Pin);

  /**/
  GPIO_InitStruct.Pin = TRACK_TICKS_IND_LED_Pin;
  GPIO_InitStruct.Mode = LL_GPIO_MODE_OUTPUT;
  GPIO_InitStruct.Speed = LL_GPIO_SPEED_FREQ_LOW;
  GPIO_InitStruct.OutputType = LL_GPIO_OUTPUT_PUSHPULL;
  GPIO_InitStruct.Pull = LL_GPIO_PULL_NO;
  LL_GPIO_Init(TRACK_TICKS_IND_LED_GPIO_Port, &GPIO_InitStruct);

  /**/
  GPIO_InitStruct.Pin = ST_DRIVER_ID_6_Pin|ST_DRIVER_ID_5_Pin|ST_DRIVER_ID_4_Pin|ST_DRIVER_ID_3_Pin
                          |ST_DRIVER_ID_2_Pin|ST_DRIVER_ID_1_Pin|TRACK_GREEN_Pin;
  GPIO_InitStruct.Mode = LL_GPIO_MODE_OUTPUT;
  GPIO_InitStruct.Speed = LL_GPIO_SPEED_FREQ_LOW;
  GPIO_InitStruct.OutputType = LL_GPIO_OUTPUT_PUSHPULL;
  GPIO_InitStruct.Pull = LL_GPIO_PULL_NO;
  LL_GPIO_Init(GPIOB, &GPIO_InitStruct);

}

/* USER CODE BEGIN 4 */
void UART_DMA_TX()
{
	if (uart_tx_transfer_completed){
		uart_tx_transfer_completed = 0;
	    LL_DMA_DisableStream(DMA2, LL_DMA_STREAM_7);
	    LL_DMA_SetDataLength(DMA2, LL_DMA_STREAM_7, UART_TX_BUF_LEN);
	    LL_DMA_SetMemoryAddress(DMA2, LL_DMA_STREAM_7, (uint32_t)uart_tx_buffer);
	    LL_DMA_EnableIT_TC(DMA2, LL_DMA_STREAM_7);   // RX complete interrupt
	    LL_DMA_EnableStream(DMA2, LL_DMA_STREAM_7);
	}
}
/* USER CODE END 4 */

void Error_Handler(void)
{
  __disable_irq();
  while (1)
  {
  }
}
